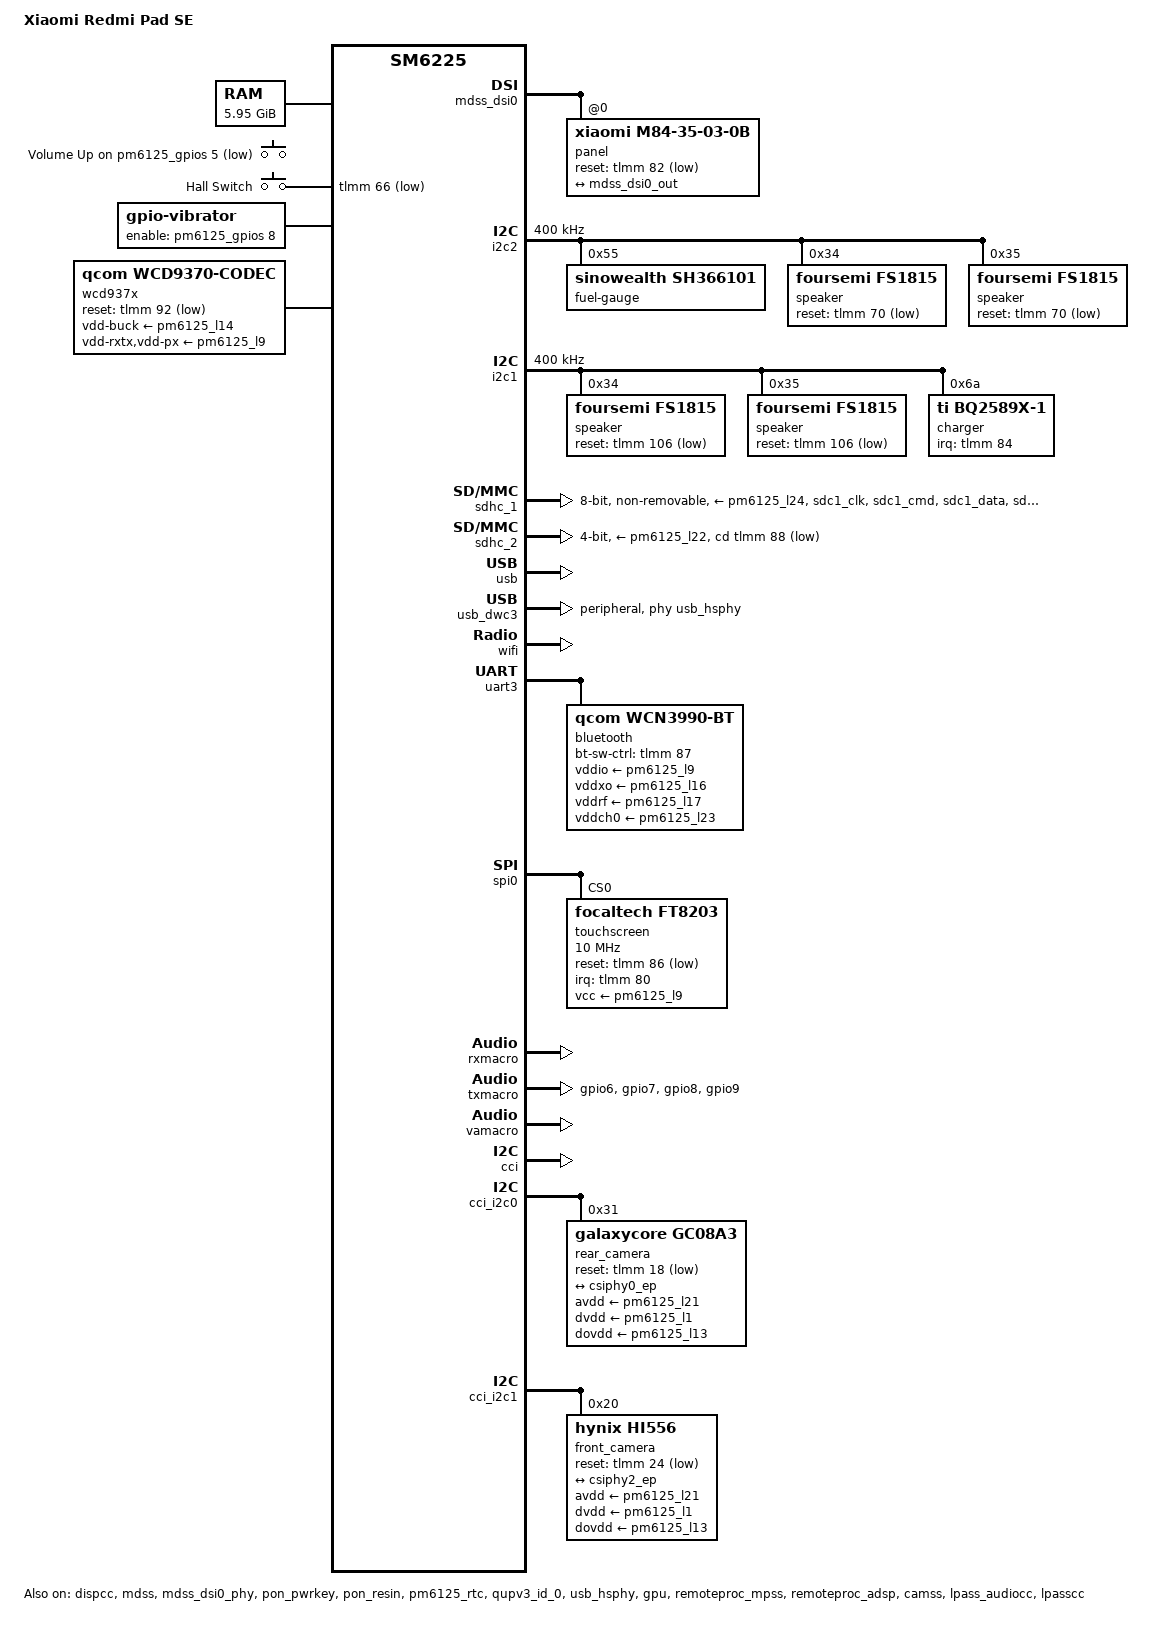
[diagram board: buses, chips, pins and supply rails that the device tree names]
// SPDX-License-Identifier: GPL-2.0-only
/*
 * Xiaomi Redmi Pad SE 11" (xun), SM6225 "Khaje".
 *
 * Layout follows the Redmi Note 12 4G (tapas) board file, which shares the
 * SoC, PMIC and most of the board with xun. The differences come from the
 * stock xun device tree (docs/reference/xun-merged.dts) and from the live
 * device: eMMC instead of UFS, the FT8203 touch controller on SPI, the M84
 * panel family, and the WCN3990 Wi-Fi/BT combo.
 *
 * The bootloader does not see this DTB (the shim passes it), so the memory
 * node is the layout ABL reports for the 6 GB unit.
 */
/dts-v1/;
#include "sm6225.dtsi"
#include "pm6125.dtsi"
#include <dt-bindings/gpio/gpio.h>
#include <dt-bindings/interrupt-controller/irq.h>
#include <dt-bindings/input/linux-event-codes.h>
#include <dt-bindings/soc/qcom,gpr.h>
#include <dt-bindings/sound/qcom,q6afe.h>
#include <dt-bindings/sound/qcom,q6dsp-lpass-ports.h>

/delete-node/ &{/memory@80000000};

/ {
	model = "Xiaomi Redmi Pad SE";
	compatible = "xiaomi,xun", "qcom,sm6225";
	chassis-type = "tablet";

	qcom,msm-id = <0x206 0x10000>;
	qcom,board-id = <0x20022 0x00>;
	qcom,pmic-id = <0x2d 0x00 0x00 0x00>;

	aliases {
		serial0 = &uart3;
	};

	/* ABL "RAM Partitions": 2 GB rank 0 + 4 GB rank 1 */
	memory@40000000 {
		device_type = "memory";
		reg = <0x0 0x40000000 0x0 0x3cc00000>,
		      <0x0 0x80000000 0x0 0x40000000>,
		      <0x0 0xc0000000 0x1 0x00000000>;
	};

	chosen {
		#address-cells = <2>;
		#size-cells = <2>;
		ranges;
		stdout-path = "framebuffer0";
		/*
		 * The panel is mounted upside down in the tablet shell; the
		 * kernel cmdline given by the shim comes from here.
		 */
		bootargs = "console=tty0 consoleblank=0 loglevel=7 printk.devkmsg=on log_buf_len=2M clk_ignore_unused pd_ignore_unused fw_devlink=off deferred_probe_timeout=120 rcupdate.rcu_cpu_stall_suppress=1 video=DSI-1:panel_orientation=upside_down";

		/* 1200x1920, 32 bpp: the splash buffer ABL scans out */
		framebuffer0: framebuffer@5c000000 {
			compatible = "simple-framebuffer";
			reg = <0x0 0x5c000000 0x0 (1920 * 1200 * 4)>;
			width = <1200>;
			height = <1920>;
			stride = <(1200 * 4)>;
			format = "a8r8g8b8";
			refresh-rate = <90>;
			panel = <&framebuffer_panel>;
		};
	};

	/* 147.4 x 235.8 mm active area (stock qcom,mdss-pan-physical-*-dimension / 10) */
	framebuffer_panel: framebuffer-panel {
		width-mm = <147>;
		height-mm = <236>;
	};

	gpio-keys {
		compatible = "gpio-keys";
		pinctrl-names = "default";
		pinctrl-0 = <&vol_up_n>;

		key-volume-up {
			label = "Volume Up";
			gpios = <&pm6125_gpios 5 GPIO_ACTIVE_LOW>;
			linux,code = <KEY_VOLUMEUP>;
			debounce-interval = <15>;
		};

		/* Stock hall_key: lid/cover switch on TLMM GPIO66 */
		hall-switch {
			label = "Hall Switch";
			gpios = <&tlmm 66 GPIO_ACTIVE_LOW>;
			linux,input-type = <EV_SW>;
			linux,code = <SW_LID>;
			wakeup-source;
			debounce-interval = <15>;
		};
	};

	/* Stock vibrator_gpio: the motor runs while PM6125 GPIO8 is high */
	vibrator {
		compatible = "gpio-vibrator";
		enable-gpios = <&pm6125_gpios 8 GPIO_ACTIVE_HIGH>;
		pinctrl-0 = <&vib_en_default>;
		pinctrl-names = "default";
	};
};

&xo_board {
	clock-frequency = <19200000>;
};

&sleep_clk {
	clock-frequency = <32764>;
};

&reserved_memory {
	ramoops@5d000000 {
		compatible = "ramoops";
		reg = <0x0 0x5d000000 0x0 0x200000>;
		record-size = <0x40000>;
		pmsg-size = <0x100000>;
		console-size = <0x80000>;
		no-map;
	};
};

/* The splash scanout depends on the dispcc PLL rates ABL programmed */
&dispcc {
	status = "okay";
};

/* DPU + DSI + the M84 panel */
&mdss {
	status = "okay";
};

&mdss_dsi0 {
	status = "okay";

	panel: panel@0 {
		compatible = "xiaomi,m84-35-03-0b";
		reg = <0>;

		reset-gpios = <&tlmm 82 GPIO_ACTIVE_LOW>;

		pinctrl-0 = <&panel_te_active>;
		pinctrl-names = "default";

		port {
			panel_in: endpoint {
				remote-endpoint = <&mdss_dsi0_out>;
			};
		};
	};
};

&mdss_dsi0_out {
	data-lanes = <0 1 2 3>;
	remote-endpoint = <&panel_in>;
};

&mdss_dsi0_phy {
	status = "okay";
};

&pon_pwrkey {
	status = "okay";
};

&pon_resin {
	linux,code = <KEY_VOLUMEDOWN>;
	status = "okay";
};

&pm6125_rtc {
	allow-set-time;
	status = "okay";
};

&pm6125_gpios {
	vib_en_default: vib-en-default-state {
		pins = "gpio8";
		function = "normal";
		power-source = <0>;
		output-low;
	};

	vol_up_n: vol-up-n-state {
		pins = "gpio5";
		function = "normal";
		power-source = <0>;
		bias-pull-up;
		input-enable;
	};
};

&rpm_requests {
	regulators-0 {
		compatible = "qcom,rpm-pm6125-regulators";

		pm6125_s6: s6 {
			regulator-min-microvolt = <400000>;
			regulator-max-microvolt = <1419000>;
		};

		pm6125_s7: s7 {
			regulator-min-microvolt = <1569000>;
			regulator-max-microvolt = <2040000>;
		};

		pm6125_s8: s8 {
			regulator-min-microvolt = <1060000>;
			regulator-max-microvolt = <1170000>;
		};

		/* camera dvdd (stock cam_vdig) */
		pm6125_l1: l1 {
			regulator-min-microvolt = <1200000>;
			regulator-max-microvolt = <1200000>;
		};

		/* USB PHY */
		pm6125_l4: l4 {
			regulator-min-microvolt = <880000>;
			regulator-max-microvolt = <880000>;
		};

		/* eMMC / SD card I/O */
		pm6125_l5: l5 {
			regulator-min-microvolt = <1648000>;
			regulator-max-microvolt = <3200000>;
			regulator-allow-set-load;
			regulator-always-on;
		};

		pm6125_l6: l6 {
			regulator-min-microvolt = <570000>;
			regulator-max-microvolt = <650000>;
		};

		pm6125_l7: l7 {
			regulator-min-microvolt = <1256000>;
			regulator-max-microvolt = <1256000>;
			regulator-always-on;
		};

		pm6125_l8: l8 {
			regulator-min-microvolt = <400000>;
			regulator-max-microvolt = <728000>;
		};

		/* Touch I/O and Wi-Fi/BT I/O (stock vdd-io / vddio) */
		pm6125_l9: l9 {
			regulator-min-microvolt = <1800000>;
			regulator-max-microvolt = <2000000>;
			regulator-always-on;
		};

		pm6125_l10: l10 {
			regulator-min-microvolt = <1700000>;
			regulator-max-microvolt = <1900000>;
		};

		/* eMMC VCCQ2 (stock qcom,vdd-io-voltage-level 1.8 V) */
		pm6125_l11: l11 {
			regulator-min-microvolt = <1800000>;
			regulator-max-microvolt = <1800000>;
			regulator-allow-set-load;
		};

		/* USB PHY PLL */
		pm6125_l12: l12 {
			regulator-min-microvolt = <1620000>;
			regulator-max-microvolt = <1980000>;
		};

		/* camera dovdd (stock cam_vio) */
		pm6125_l13: l13 {
			regulator-min-microvolt = <1800000>;
			regulator-max-microvolt = <1800000>;
		};

		pm6125_l14: l14 {
			regulator-min-microvolt = <1700000>;
			regulator-max-microvolt = <1900000>;
		};

		/* USB PHY D+/D- */
		pm6125_l15: l15 {
			regulator-min-microvolt = <3104000>;
			regulator-max-microvolt = <3232000>;
		};

		/* Wi-Fi/BT xtal rail (stock qcom,bt-vdd-xtal) */
		pm6125_l16: l16 {
			regulator-min-microvolt = <1700000>;
			regulator-max-microvolt = <1900000>;
		};

		/* Wi-Fi/BT core rail (stock qcom,bt-vdd-core) */
		pm6125_l17: l17 {
			regulator-min-microvolt = <1220000>;
			regulator-max-microvolt = <1304000>;
		};

		pm6125_l18: l18 {
			regulator-min-microvolt = <1232000>;
			regulator-max-microvolt = <1232000>;
		};

		pm6125_l19: l19 {
			regulator-min-microvolt = <1620000>;
			regulator-max-microvolt = <3300000>;
		};

		pm6125_l20: l20 {
			regulator-min-microvolt = <1620000>;
			regulator-max-microvolt = <3300000>;
		};

		/* camera avdd (stock cam_vana) */
		pm6125_l21: l21 {
			regulator-min-microvolt = <2800000>;
			regulator-max-microvolt = <2800000>;
		};

		/* SD card VCC (stock vdd-supply of sdhc_2) */
		pm6125_l22: l22 {
			regulator-min-microvolt = <2950000>;
			regulator-max-microvolt = <3300000>;
			regulator-allow-set-load;
		};

		/* Wi-Fi/BT PA rail (stock qcom,bt-vdd-pa) */
		pm6125_l23: l23 {
			regulator-min-microvolt = <3296000>;
			regulator-max-microvolt = <3304000>;
			regulator-always-on;
		};

		/* eMMC VCC (stock qcom,vdd-voltage-level 2.95 V) */
		pm6125_l24: l24 {
			regulator-min-microvolt = <2950000>;
			regulator-max-microvolt = <2960000>;
			regulator-allow-set-load;
		};
	};
};

&qupv3_id_0 {
	status = "okay";
};

&gpi_dma0 {
	status = "okay";
};

/* Fuel gauge: the SH366101 tracks the battery on its own */
&i2c2 {
	status = "okay";
	clock-frequency = <400000>;
	assigned-clocks = <&gcc GCC_QUPV3_WRAP0_S2_CLK>;
	assigned-clock-rates = <19200000>;

	fuel-gauge@55 {
		compatible = "sinowealth,sh366101";
		reg = <0x55>;
	};

	/* Second speaker pair; the reset line is shared with its sibling */
	speaker@34 {
		compatible = "foursemi,fs1815";
		reg = <0x34>;
		foursemi,dev-addr = <0x36>;
		reset-gpios = <&tlmm 70 GPIO_ACTIVE_LOW>;
	};

	speaker@35 {
		compatible = "foursemi,fs1815";
		reg = <0x35>;
		foursemi,dev-addr = <0x37>;
		reset-gpios = <&tlmm 70 GPIO_ACTIVE_LOW>;
	};
};

/* First speaker pair */
&i2c1 {
	status = "okay";
	clock-frequency = <400000>;
	assigned-clocks = <&gcc GCC_QUPV3_WRAP0_S1_CLK>;
	assigned-clock-rates = <19200000>;

	speaker@34 {
		compatible = "foursemi,fs1815";
		reg = <0x34>;
		foursemi,dev-addr = <0x34>;
		reset-gpios = <&tlmm 106 GPIO_ACTIVE_LOW>;
	};

	speaker@35 {
		compatible = "foursemi,fs1815";
		reg = <0x35>;
		foursemi,dev-addr = <0x35>;
		reset-gpios = <&tlmm 106 GPIO_ACTIVE_LOW>;
	};

	/* BQ2589X charger (register compatible with the BQ25890 driver) */
	charger@6a {
		compatible = "ti,bq2589x-1";
		reg = <0x6a>;

		interrupt-parent = <&tlmm>;
		interrupts = <84 IRQ_TYPE_EDGE_FALLING>;
		pinctrl-names = "default";
		pinctrl-0 = <&bq2589x_int_default>;

		/* 18 W fast charge: 9 V / 2 A in, 3.6 A into the cell */
		ti,charge-current = <3600000>;
		ti,battery-regulation-voltage = <4450000>;
		ti,termination-current = <450000>;
		ti,precharge-current = <128000>;
		ti,minimum-sys-voltage = <3500000>;
		ti,boost-voltage = <5000000>;
		ti,boost-max-current = <1500000>;
		ti,enable-auto-dpdm;
		ti,enable-termination;
	};
};

&tlmm {
	bq2589x_int_default: bq2589x-int-default-state {
		pins = "gpio84";
		function = "gpio";
		drive-strength = <2>;
		bias-pull-up;
	};
};

/* eMMC: the boot medium (mmcblk0), 8 bits, HS200/HS400 */
&sdhc_1 {
	pinctrl-names = "default", "sleep";
	pinctrl-0 = <&sdc1_state_on>;
	pinctrl-1 = <&sdc1_state_off>;

	vmmc-supply = <&pm6125_l24>;
	vqmmc-supply = <&pm6125_l11>;

	bus-width = <8>;
	non-removable;
	no-sd;
	no-sdio;
	mmc-ddr-1_8v;
	mmc-hs200-1_8v;
	mmc-hs400-1_8v;
	mmc-hs400-enhanced-strobe;
	status = "okay";
};

/* microSD, card detect on GPIO88 */
&sdhc_2 {
	pinctrl-names = "default", "sleep";
	pinctrl-0 = <&sdc2_state_on>;
	pinctrl-1 = <&sdc2_state_off>;

	vmmc-supply = <&pm6125_l22>;
	vqmmc-supply = <&pm6125_l5>;

	bus-width = <4>;
	no-sdio;
	no-mmc;
	qcom,ddr-config = <0x80040868>;
	sdhci-caps-mask = <0x00000002 0x00000000>;
	cd-gpios = <&tlmm 88 GPIO_ACTIVE_LOW>;
	status = "okay";
};

&usb {
	qcom,select-utmi-as-pipe-clk;
	status = "okay";
};

&usb_dwc3 {
	phys = <&usb_hsphy>;
	phy-names = "usb2-phy";
	maximum-speed = "high-speed";
	dr_mode = "peripheral";
};

&usb_hsphy {
	vdd-supply = <&pm6125_l4>;
	vdda-pll-supply = <&pm6125_l12>;
	vdda-phy-dpdm-supply = <&pm6125_l15>;
	status = "okay";
};

&adreno_smmu {
	status = "okay";
};

&gpu {
	status = "okay";
};

/*
 * Modem. Its DSP also runs the WLAN firmware (wlanmdsp.mbn, served by
 * tqftpserv over QRTR), which is what WCN3990 Wi-Fi needs.
 */
&remoteproc_mpss {
	firmware-name = "qcom/sm6225/xiaomi/xun/modem.mdt";
	status = "okay";
};

/* WCN3990: same rails as the stock icnss node, board data per device */
&wifi {
	/* factory address from /persist/wlan/wlan_mac.bin; big-endian */
	local-mac-address = [30 50 ce 25 91 1c];
	vdd-0.8-cx-mx-supply = <&pm6125_l8>;
	vdd-1.8-xo-supply = <&pm6125_l16>;
	vdd-1.3-rfa-supply = <&pm6125_l17>;
	vdd-3.3-ch0-supply = <&pm6125_l23>;
	firmware-name = "xiaomi-xun";
	status = "okay";
};

&uart3 {
	pinctrl-0 = <&qup_uart3_4pin>;
	status = "okay";

	bluetooth {
		compatible = "qcom,wcn3990-bt";
		/* factory address from /persist/wlan/bt_mac.bin; little-endian */
		local-bd-address = [1d 91 25 ce 50 30];
		qcom,bt-sw-ctrl-gpio = <&tlmm 87 GPIO_ACTIVE_HIGH>;
		vddio-supply = <&pm6125_l9>;
		vddxo-supply = <&pm6125_l16>;
		vddrf-supply = <&pm6125_l17>;
		vddch0-supply = <&pm6125_l23>;
		max-speed = <3200000>;
	};
};

/*
 * Touch: FocalTech FT8203 on SPI0, chip select 0.
 * IRQ GPIO80, reset GPIO86, from the stock qupv3_se0_spi node.
 */
&spi0 {
	status = "okay";

	touchscreen@0 {
		compatible = "focaltech,ft8203";
		reg = <0>;
		spi-max-frequency = <10000000>;
		interrupt-parent = <&tlmm>;
		interrupts = <80 IRQ_TYPE_EDGE_FALLING>;
		reset-gpios = <&tlmm 86 GPIO_ACTIVE_LOW>;
		firmware-name = "focaltech_ts_fw_boe_ft8203.bin";
		pinctrl-names = "default";
		pinctrl-0 = <&ts_int_active &ts_reset_active>;
		vcc-supply = <&pm6125_l9>;
		/* follow the panel so gesture mode tracks the display state */
		panel = <&panel>;
	};
};

&tlmm {
	sdc1_state_on: sdc1-on-state {
		clk-pins {
			pins = "sdc1_clk";
			bias-disable;
			drive-strength = <16>;
		};

		cmd-pins {
			pins = "sdc1_cmd";
			bias-pull-up;
			drive-strength = <10>;
		};

		data-pins {
			pins = "sdc1_data";
			bias-pull-up;
			drive-strength = <10>;
		};

		rclk-pins {
			pins = "sdc1_rclk";
			bias-pull-down;
		};
	};

	sdc1_state_off: sdc1-off-state {
		clk-pins {
			pins = "sdc1_clk";
			bias-disable;
			drive-strength = <2>;
		};

		cmd-pins {
			pins = "sdc1_cmd";
			bias-pull-up;
			drive-strength = <2>;
		};

		data-pins {
			pins = "sdc1_data";
			bias-pull-up;
			drive-strength = <2>;
		};

		rclk-pins {
			pins = "sdc1_rclk";
			bias-pull-down;
		};
	};



	panel_te_active: panel-te-active-state {
		pins = "gpio81";
		function = "mdp_vsync";
		drive-strength = <2>;
		bias-pull-down;
	};

	ts_int_active: ts-int-active-state {
		pins = "gpio80";
		function = "gpio";
		drive-strength = <8>;
		bias-pull-up;
	};

	ts_int_suspend: ts-int-suspend-state {
		pins = "gpio80";
		function = "gpio";
		drive-strength = <2>;
		bias-pull-down;
	};

	ts_reset_active: ts-reset-active-state {
		pins = "gpio86";
		function = "gpio";
		drive-strength = <8>;
		bias-pull-up;
	};

	ts_reset_suspend: ts-reset-suspend-state {
		pins = "gpio86";
		function = "gpio";
		drive-strength = <2>;
		bias-pull-down;
	};
};


/* ---- audio: ADSP/AudioReach, WCD937x, LPASS macros ---- */
/ {
	sound {
		compatible = "qcom,qrb4210-rb2-sndcard";
		model = "SM6225-Xun";
		audio-routing =
				"AMIC1", "MIC BIAS1",
				"AMIC2", "MIC BIAS2",
				"AMIC3", "MIC BIAS3",

				"IN1_HPHL", "HPHL_OUT",
				"IN2_HPHR", "HPHR_OUT",
				"IN3_AUX", "AUX_OUT",

				"VA DMIC0", "VA MIC BIAS1",
				"VA DMIC1", "VA MIC BIAS1",
				"VA DMIC2", "VA MIC BIAS3",
				"VA DMIC3", "VA MIC BIAS3",

				"VA SWR_MIC0", "ADC1_OUTPUT",
				"VA SWR_MIC4", "ADC2_OUTPUT",
				"VA SWR_MIC5", "ADC3_OUTPUT",

				"TX SWR_INPUT0", "ADC1_OUTPUT",
				"TX SWR_INPUT4", "ADC2_OUTPUT";


		/* MultiMedia1-3 (hw:0,0-2) come from the topology */

		wcd-playback-dai-link {
			link-name = "WCD Playback";

			cpu {
				sound-dai = <&q6apmbedai RX_CODEC_DMA_RX_0>;
			};

			platform {
				sound-dai = <&q6apm>;
			};

			codec {
				sound-dai = <&wcd937x 0>,
				<&swr1 0>,
				<&rxmacro 0>;
			};
		};


		wcd-capture-dai-link {
			link-name = "WCD Capture";

			cpu {
				sound-dai = <&q6apmbedai TX_CODEC_DMA_TX_3>;
			};

			platform {
				sound-dai = <&q6apm>;
			};

			codec {
				sound-dai = <&wcd937x 1>,
				<&swr0 0>,
				<&txmacro 0>;
			};
		};

		va-dai-link {
			link-name = "VA Capture";

			cpu {
				sound-dai = <&q6apmbedai VA_CODEC_DMA_TX_0>;
			};

			platform {
				sound-dai = <&q6apm>;
			};

			codec {
				sound-dai = <&vamacro 0>;
			};
		};
	};
};

&soc {
	rxmacro: codec@a600000 {
		compatible = "qcom,sm6115-lpass-rx-macro";
		reg = <0x0 0x0a600000 0x0 0x1000>;
		#clock-cells = <0>;
		#sound-dai-cells = <1>;
		clocks = <&q6prmcc LPASS_CLK_ID_RX_CORE_MCLK LPASS_CLK_ATTRIBUTE_COUPLE_NO>,
			 <&q6prmcc LPASS_CLK_ID_RX_CORE_NPL_MCLK LPASS_CLK_ATTRIBUTE_COUPLE_NO>,
			 <&q6prmcc LPASS_HW_DCODEC_VOTE LPASS_CLK_ATTRIBUTE_COUPLE_NO>,
			 <&vamacro>;
		clock-names = "mclk", "npl", "dcodec", "fsgen";
		clock-output-names = "mclk";
		status = "okay";
	};

	txmacro: codec@a620000 {
		compatible = "qcom,sm6115-lpass-tx-macro";
		reg = <0x0 0x0a620000 0x0 0x1000>;
		qcom,dmic-sample-rate = <600000>;
		#clock-cells = <0>;
		#sound-dai-cells = <1>;
		pinctrl-0 = <&lpi_dmic01_active &lpi_dmic23_active>;
		pinctrl-names = "default";
		clocks = <&q6prmcc LPASS_CLK_ID_TX_CORE_MCLK LPASS_CLK_ATTRIBUTE_COUPLE_NO>,
			 <&q6prmcc LPASS_CLK_ID_TX_CORE_NPL_MCLK LPASS_CLK_ATTRIBUTE_COUPLE_NO>,
			 <&q6prmcc LPASS_HW_DCODEC_VOTE LPASS_CLK_ATTRIBUTE_COUPLE_NO>,
			 <&vamacro>;
		clock-names = "mclk", "npl", "dcodec", "fsgen";
		clock-output-names = "mclk";
		status = "okay";
	};

	vamacro: codec@a730000 {
		compatible = "qcom,sm6115-lpass-va-macro";
		reg = <0x0 0x0a730000 0x0 0x1000>;
		qcom,dmic-sample-rate = <600000>;
		#clock-cells = <0>;
		#sound-dai-cells = <1>;
		clocks = <&q6prmcc LPASS_CLK_ID_TX_CORE_MCLK LPASS_CLK_ATTRIBUTE_COUPLE_NO>,
			 <&q6prmcc LPASS_HW_DCODEC_VOTE LPASS_CLK_ATTRIBUTE_COUPLE_NO>,
			 <&q6prmcc LPASS_CLK_ID_TX_CORE_NPL_MCLK LPASS_CLK_ATTRIBUTE_COUPLE_NO>;
		clock-names = "mclk", "dcodec", "npl";
		clock-output-names = "fsgen";
		status = "okay";
	};

	lpass_audiocc: clock-controller@a6a9000 {
		compatible = "qcom,sm6115-lpassaudiocc";
		reg = <0x0 0x0a6a9000 0x0 0x1000>;
		#reset-cells = <1>;

		status = "okay";
	};

	lpasscc: clock-controller@a7ec000 {
		compatible = "qcom,sm6115-lpasscc";
		reg = <0x0 0x0a7ec000 0x0 0x1000>;
		#reset-cells = <1>;

		status = "okay";
	};

	wcd937x: codec {
		compatible = "qcom,wcd9370-codec";
		pinctrl-names = "default";
		pinctrl-0 = <&wcd_reset_n>;
		reset-gpios = <&tlmm 92 GPIO_ACTIVE_LOW>;
		vdd-buck-supply = <&pm6125_l14>;
		vdd-rxtx-supply = <&pm6125_l9>;
		vdd-px-supply = <&pm6125_l9>;
		qcom,micbias1-microvolt = <2700000>;
		qcom,micbias2-microvolt = <2700000>;
		qcom,micbias3-microvolt = <2700000>;
		qcom,rx-device = <&wcd937x_rx>;
		qcom,tx-device = <&wcd937x_tx>;
		#sound-dai-cells = <1>;
	};

	swr0: soundwire@a740000 {
		compatible = "qcom,soundwire-v1.6.0";
		reg = <0x0 0x0a740000 0x0 0x2000>;
		interrupts = <GIC_SPI 296 IRQ_TYPE_LEVEL_HIGH>,
		<GIC_SPI 79 IRQ_TYPE_LEVEL_HIGH>;

		pinctrl-0 = <&lpi_swr_tx_active>;
		pinctrl-names = "default";

		clocks = <&txmacro>;
		clock-names = "iface";

		resets = <&lpasscc 0>;
		reset-names = "swr_audio_cgcr";

		label = "VA_TX";

		qcom,din-ports = <3>;
		qcom,dout-ports = <0>;

		qcom,ports-sinterval-low =
		/bits/ 8 <0x03 0x03 0x03>;
		qcom,ports-offset1 =
		/bits/ 8 <0x01 0x02 0x01>;
		qcom,ports-offset2 =
		/bits/ 8 <0x00 0x00 0x00>;
		qcom,ports-hstart =
		/bits/ 8 <0xff 0xff 0xff>;
		qcom,ports-hstop =
		/bits/ 8 <0xff 0xff 0xff>;
		qcom,ports-word-length =
		/bits/ 8 <0xff 0xff 0xff>;
		qcom,ports-block-pack-mode =
		/bits/ 8 <0xff 0xff 0xff>;
		qcom,ports-block-group-count =
		/bits/ 8 <0xff 0xff 0xff>;
		qcom,ports-lane-control =
		/bits/ 8 <0x00 0x00 0x00>;

		#sound-dai-cells = <1>;
		#address-cells = <2>;
		#size-cells = <0>;

		wcd937x_tx: codec@0,3 {
			compatible = "sdw20217010a00";
			reg = <0 3>;

			/*
			 * WCD9370 TX Port 1 (ADC1)               <=> SWR Port 1
			 * WCD9370 TX Port 2 (ADC2, 3)            <=> SWR Port 1
			 * WCD9370 TX Port 3 (DMIC0,1,2,3 & MBHC) <=> SWR Port 2
			 * WCD9370 TX Port 4 (DMIC4,5,6,7)        <=> SWR Port 3
			 */
			qcom,tx-port-mapping = <1 1 2 3>;

			/*
			 * Static channel mapping between slave and master tx
			 * port channels, in the order of slave port channels
			 * which is adc1, adc2, adc3, mic0, dmic1, mbhc,
			 * dmic2, dmic3, dmic4, dmic5, dmic6, dmic7.
			 */
			qcom,tx-channel-mapping = /bits/ 8
			<1 2 1 1 2 3 3 4 1 2 3 4>;
		};
	};

	swr1: soundwire@a610000 {
		compatible = "qcom,soundwire-v1.6.0";
		reg = <0x0 0x0a610000 0x0 0x2000>;
		interrupts = <GIC_SPI 297 IRQ_TYPE_LEVEL_HIGH>;

		pinctrl-0 = <&lpi_swr_rx_active>;
		pinctrl-names = "default";

		clocks = <&rxmacro>;
		clock-names = "iface";

		resets = <&lpass_audiocc 0>;
		reset-names = "swr_audio_cgcr";

		label = "RX";

		qcom,din-ports = <0>;
		qcom,dout-ports = <5>;

		qcom,ports-sinterval-low =
		/bits/ 8 <0x03 0x1f 0x1f 0x07 0x00>;
		qcom,ports-offset1 =
		/bits/ 8 <0x00 0x00 0x0b 0x01 0x00>;
		qcom,ports-offset2 =
		/bits/ 8 <0x00 0x00 0x0b 0x00 0x00>;
		qcom,ports-hstart =
		/bits/ 8 <0xff 0x03 0xff 0xff 0xff>;
		qcom,ports-hstop =
		/bits/ 8 <0xff 0x06 0xff 0xff 0xff>;
		qcom,ports-word-length =
		/bits/ 8 <0x01 0x07 0x04 0xff 0xff>;
		qcom,ports-block-pack-mode =
		/bits/ 8 <0xff 0x00 0x01 0xff 0xff>;
		qcom,ports-block-group-count =
		/bits/ 8 <0xff 0xff 0xff 0xff 0x00>;
		qcom,ports-lane-control =
		/bits/ 8 <0x01 0x00 0x00 0x00 0x00>;

		#sound-dai-cells = <1>;
		#address-cells = <2>;
		#size-cells = <0>;

		wcd937x_rx: codec@0,4 {
			compatible = "sdw20217010a00";
			reg = <0 4>;
			qcom,rx-port-mapping = <1 2 3 4 5>;
			qcom,rx-channel-mapping = /bits/ 8
			<1 2 1 1 2 1 1 2>;
		};
	};
};


&lpass_tlmm {
	lpi_swr_tx_active: lpi-swr-tx-active-state {
		clk-pins {
			pins = "gpio0";
			function = "swr_tx_clk";
			bias-disable;
			drive-strength = <10>;
			slew-rate = <3>;
		};

		data-pins {
			pins = "gpio1", "gpio2";
			function = "swr_tx_data";
			bias-bus-hold;
			drive-strength = <10>;
			slew-rate = <3>;
		};
	};

	lpi_swr_tx_sleep: lpi-swr-tx-sleep-state {
		clk-pins {
			pins = "gpio0";
			function = "swr_tx_clk";
			bias-pull-down;
			drive-strength = <10>;
			input-enable;
		};

		data-pins {
			pins = "gpio1", "gpio2";
			function = "swr_tx_data";
			bias-bus-hold;
			drive-strength = <10>;
			input-enable;
		};
	};

	lpi_swr_rx_active: lpi-swr-rx-active-state {
		clk-pins {
			pins = "gpio3";
			function = "swr_rx_clk";
			bias-disable;
			drive-strength = <10>;
			slew-rate = <3>;
		};

		data-pins {
			pins = "gpio4", "gpio5";
			function = "swr_rx_data";
			bias-bus-hold;
			drive-strength = <10>;
			slew-rate = <3>;
		};
	};

	lpi_swr_rx_sleep: lpi-swr-rx-sleep-state {
		clk-pins {
			pins = "gpio3";
			function = "swr_rx_clk";
			bias-pull-down;
			drive-strength = <10>;
			input-enable;
		};

		data-pins {
			pins = "gpio4", "gpio5";
			function = "swr_rx_data";
			bias-bus-hold;
			drive-strength = <10>;
			input-enable;
		};
	};

	lpi_dmic01_active: lpi-dmic01-active-state {
		clk-pins {
			pins = "gpio6";
			function = "dmic01_clk";
			drive-strength = <8>;
			output-high;
		};

		data-pins {
			pins = "gpio7";
			function = "dmic01_data";
			drive-strength = <8>;
			input-enable;
		};
	};

	lpi_dmic23_active: lpi-dmic23-active-state {
		clk-pins {
			pins = "gpio8";
			function = "dmic23_clk";
			drive-strength = <8>;
			output-high;
		};

		data-pins {
			pins = "gpio9";
			function = "dmic23_data";
			drive-strength = <8>;
			input-enable;
		};
	};
};


&remoteproc_adsp {
	firmware-name = "qcom/sm6225/xiaomi/xun/adsp.mdt";
	status = "okay";

	glink-edge {
		/delete-node/ apr;

		gpr {
			compatible = "qcom,gpr";
			qcom,glink-channels = "adsp_apps";
			qcom,domain = <GPR_DOMAIN_ID_ADSP>;
			qcom,intents = <512 20>;
			#address-cells = <1>;
			#size-cells = <0>;

			q6apm: service@1 {
				compatible = "qcom,q6apm";
				reg = <GPR_APM_MODULE_IID>;
				#sound-dai-cells = <0>;
				qcom,protection-domain = "avs/audio", "msm/adsp/audio_pd";

				q6apmdai: dais {
					compatible = "qcom,q6apm-dais";
					/* stock msm-audio-ion */
					iommus = <&apps_smmu 0x1c1 0x0>;
				};

				q6apmbedai: bedais {
					compatible = "qcom,q6apm-lpass-dais";
					#sound-dai-cells = <1>;
				};
			};

			q6prm: service@2 {
				compatible = "qcom,q6prm";
				reg = <GPR_PRM_MODULE_IID>;
				qcom,protection-domain = "avs/audio", "msm/adsp/audio_pd";

				q6prmcc: clock-controller {
					compatible = "qcom,q6prm-lpass-clocks";
					#clock-cells = <2>;
				};
			};
		};
	};
};


&tlmm {
	wcd_reset_n: wcd-reset-n-active-state {
		pins = "gpio92";
		function = "gpio";
		drive-strength = <16>;
		output-high;
	};
};

/* The LPASS pinctrl takes its vote clock from the PRM service (AudioReach) */
&lpass_tlmm {
	clocks = <&q6prmcc LPASS_HW_DCODEC_VOTE LPASS_CLK_ATTRIBUTE_COUPLE_NO>;
};

/* PS_HOLD: releasing it powers the PMIC down (the PON driver sets the type) */
&soc {
	restart@440b000 {
		compatible = "qcom,pshold";
		reg = <0x0 0x0440b000 0x0 0x4>;
	};
};

/* Cameras: rear GC08A3 on CSIPHY0, front HI556 on CSIPHY2 */
&tlmm {
	cam_sensor_mclk0_default: cam-sensor-mclk0-default {
		pins = "gpio20";
		function = "cam_mclk";
		drive-strength = <2>;
		bias-disable;
	};

	cam_sensor_mclk1_default: cam-sensor-mclk1-default {
		pins = "gpio21";
		function = "cam_mclk";
		drive-strength = <2>;
		bias-disable;
	};
};

&camss {
	pinctrl-names = "default";
	pinctrl-0 = <&cam_sensor_mclk0_default &cam_sensor_mclk1_default>;
	status = "okay";

	ports {
		port@0 {
			reg = <0>;

			csiphy0_ep: endpoint {
				data-lanes = <1 2 3 4>;
				link-frequencies = /bits/ 64 <336000000 207000000>;
				remote-endpoint = <&gc08a3_ep>;
			};
		};

		port@2 {
			reg = <2>;

			csiphy2_ep: endpoint {
				data-lanes = <1 2>;
				link-frequencies = /bits/ 64 <437000000>;
				remote-endpoint = <&hi556_ep>;
			};
		};
	};
};

&cci {
	status = "okay";
};

&cci_i2c0 {
	rear_camera: camera@31 {
		compatible = "galaxycore,gc08a3";
		reg = <0x31>;

		clocks = <&gcc GCC_CAMSS_MCLK0_CLK>;
		assigned-clocks = <&gcc GCC_CAMSS_MCLK0_CLK>;
		assigned-clock-rates = <24000000>;

		reset-gpios = <&tlmm 18 GPIO_ACTIVE_LOW>;
		avdd-supply = <&pm6125_l21>;
		dvdd-supply = <&pm6125_l1>;
		dovdd-supply = <&pm6125_l13>;

		port {
			gc08a3_ep: endpoint {
				data-lanes = <1 2 3 4>;
				link-frequencies = /bits/ 64 <336000000>;
				remote-endpoint = <&csiphy0_ep>;
			};
		};
	};
};

&cci_i2c1 {
	front_camera: camera@20 {
		compatible = "hynix,hi556";
		reg = <0x20>;

		clocks = <&gcc GCC_CAMSS_MCLK1_CLK>;
		clock-names = "clk";
		assigned-clocks = <&gcc GCC_CAMSS_MCLK1_CLK>;
		assigned-clock-rates = <19200000>;

		reset-gpios = <&tlmm 24 GPIO_ACTIVE_LOW>;
		avdd-supply = <&pm6125_l21>;
		dvdd-supply = <&pm6125_l1>;
		dovdd-supply = <&pm6125_l13>;

		port {
			hi556_ep: endpoint {
				data-lanes = <1 2>;
				link-frequencies = /bits/ 64 <437000000>;
				remote-endpoint = <&csiphy2_ep>;
			};
		};
	};
};
